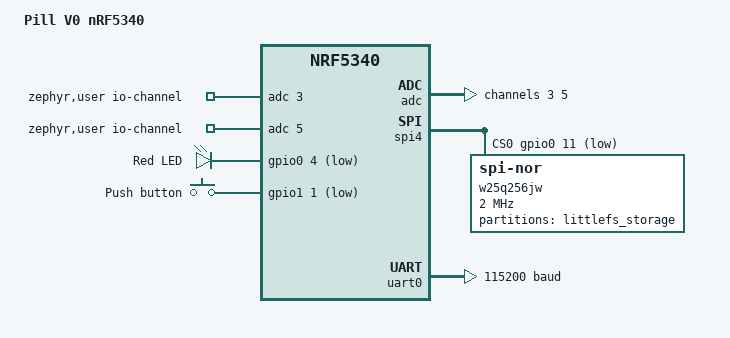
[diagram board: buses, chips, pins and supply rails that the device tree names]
// Copyright (c) 2024 Nordic Semiconductor ASA
// SPDX-License-Identifier: Apache-2.0

/dts-v1/;
#include <nordic/nrf5340_cpuapp_qkaa.dtsi>
#include "nrf5340-common-pinctrl.dtsi"
#include "nrf5340_partitions.dtsi"
#include <zephyr/dt-bindings/input/input-event-codes.h>

/ {
	model = "Pill V0 nRF5340";
	compatible = "sensalog,pill-v0-nrf5340";

	chosen {
		zephyr,sram = &sram0;
		zephyr,flash = &flash0;
		zephyr,code-partition = &slot0_partition;
		zephyr,shell-uart = &uart0;
		zephyr,console = &uart0;
	};

	zephyr,user {
		io-channels = <&adc 3>, <&adc 5>;
	};

	leds {
		compatible = "gpio-leds";
		led: led {
			gpios = <&gpio0 4 (GPIO_ACTIVE_LOW) >;
			label = "Red LED";
		};
	};

	buttons {
		compatible = "gpio-keys";
		button: button {
			gpios = <&gpio1 1 (GPIO_PULL_UP | GPIO_ACTIVE_LOW)>;
			label = "Push button";
			zephyr,code = <INPUT_KEY_0>;
		};
	};

	/* These aliases are provided for compatibility with samples */
	aliases {
		led0 = &led;
		sw0 = &button;
		uart0 = &uart0;
		bootloader-led0 = &led;
		mcuboot-button0 = &button;
		mcuboot-led0 = &led;
		watchdog0 = &wdt;
	};
};

&gpio0 {
	status = "okay";
};

&gpio1 {
	status = "okay";
};

&adc {
	status = "okay";
	#address-cells = <1>;
	#size-cells = <0>;

	channel@3 {
		reg = <3>;
		zephyr,gain = "ADC_GAIN_1_4";
		zephyr,reference = "ADC_REF_INTERNAL";
		zephyr,acquisition-time = <ADC_ACQ_TIME_DEFAULT>;
		zephyr,input-positive = <NRF_SAADC_AIN3>; /* P0.07 */
		zephyr,resolution = <14>;
	};

	channel@5 {
		reg = <5>;
		zephyr,gain = "ADC_GAIN_1_4";
		zephyr,reference = "ADC_REF_INTERNAL";
		zephyr,acquisition-time = <ADC_ACQ_TIME_DEFAULT>;
		zephyr,input-positive = <NRF_SAADC_AIN5>; /* P0.26 */
		zephyr,resolution = <14>;
	};
};

&spi4 {
	compatible = "nordic,nrf-spim";
	status = "okay";
    cs-gpios = <&gpio0 11 GPIO_ACTIVE_LOW>;
	pinctrl-0 = <&spi4_default>;
	pinctrl-1 = <&spi4_sleep>;
	pinctrl-names = "default", "sleep";

    w25q256jw: w25q256jw@0 {
        compatible = "jedec,spi-nor";
        reg=<0>;
        spi-max-frequency = < 2000000 >;
        size = <0x10000000>;
        has-dpd;
        t-enter-dpd = <3000>;
        t-exit-dpd = <30000>;
        jedec-id = [ ef 80 19 ];
        partitions{
            compatible = "fixed-partitions";
            #address-cells = <1>;
            #size-cells = <1>;
            lfs1_part: partitions@0{
                label = "littlefs_storage";
                reg = <0x00000000 0x02000000>;
            };
        };
    };
};

&uart0 {
	compatible = "nordic,nrf-uarte";
	status = "okay";
	current-speed = <115200>;
	pinctrl-0 = <&uart0_default>;
	pinctrl-1 = <&uart0_sleep>;
	pinctrl-names = "default", "sleep";
};

